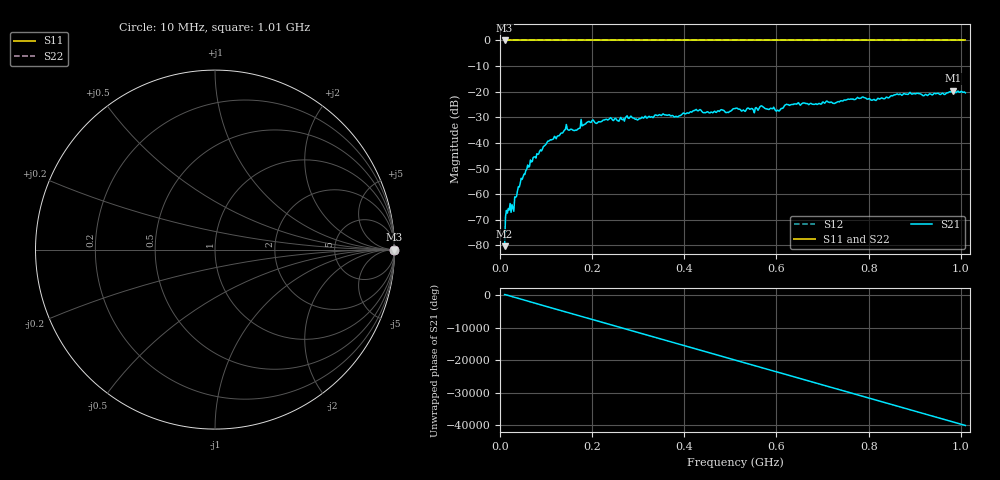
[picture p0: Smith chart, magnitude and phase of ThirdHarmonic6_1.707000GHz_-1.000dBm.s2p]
! 8/16/2025 8:31:48 PM
! C:\ANRITSUVNA\TEMP\TEMP.S2P
! CHANNEL.1
! TR.MEASUREMENT
! RAW.DATA
! RF.CORRECTION.OFF
! AVERAGING.OFF
! IF.BANDWIDTH: 5KHZ
! SWEEPTYPE:  FREQ.SWEEP(Linear)
! Reference Plane Port Info
! PORT:  PORT1  PORT2
! DISTANCE:  0  m  0  m
! TIME:  0  s  0  s
! PHASE.OFFSET:  0  deg.  0  deg.
! LOSS:  0  dB  0  dB
! REF.LOSS:  0  dB  0  dB
! REF.FREQ:  0  Hz  0  Hz
! Power Info
! POWER:  -20  dBm  -20  dBm
! EFF.POWER:  -20  dBm  -20  dBm
! SOURCE.ATTEN:  0  dB  0  dB
! TEST.ATTEN:  0  dB  0  dB
# GHZ S RI R 50.0
! FREQ.GHZ  S11RE  S11IM  S21RE  S21IM  S12RE  S12IM  S22RE  S22IM
!; PortSelection: Port_12
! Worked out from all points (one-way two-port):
!   501 points, 10 MHz to 1.01 GHz, reference 50 ohm
!   highest |S21| = -19.54 dB at 984 MHz (marker M1); lowest = -80.3 dB at 10 MHz (marker M2)
!   lowest |S11| = 0.0 dB at 10 MHz (marker M3)
!   |S11| at or under -10 dB: nowhere
!   |S22| runs from 0.0 to 0.0 dB; largest |S21 - S12| = 1.1
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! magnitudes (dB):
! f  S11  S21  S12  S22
! 10 MHz  0.0  -80.3  0.0  0.0
! 16 MHz  0.0  -67.4  0.0  0.0
! 18 MHz  0.0  -65.6  0.0  0.0
! 28 MHz  0.0  -65.4  0.0  0.0
! 48 MHz  0.0  -54.2  0.0  0.0
! 70 MHz  0.0  -47.3  0.0  0.0
! 106 MHz  0.0  -39.3  0.0  0.0
! 142 MHz  0.0  -34.6  0.0  0.0
! 164 MHz  0.0  -35.0  0.0  0.0
! 178 MHz  0.0  -33.3  0.0  0.0
! 344 MHz  0.0  -29.2  0.0  0.0
! 382 MHz  0.0  -29.6  0.0  0.0
! 424 MHz  0.0  -27.1  0.0  0.0
! 494 MHz  0.0  -28.0  0.0  0.0
! 510 MHz  0.0  -26.6  0.0  0.0
! 568 MHz  0.0  -25.5  0.0  0.0
! 602 MHz  0.0  -27.2  0.0  0.0
! 622 MHz  0.0  -24.9  0.0  0.0
! 678 MHz  0.0  -24.9  0.0  0.0
! 844 MHz  0.0  -22.3  0.0  0.0
! 984 MHz  0.0  -19.5  0.0  0.0
! 1.01 GHz  0.0  -20.4  0.0  0.0
